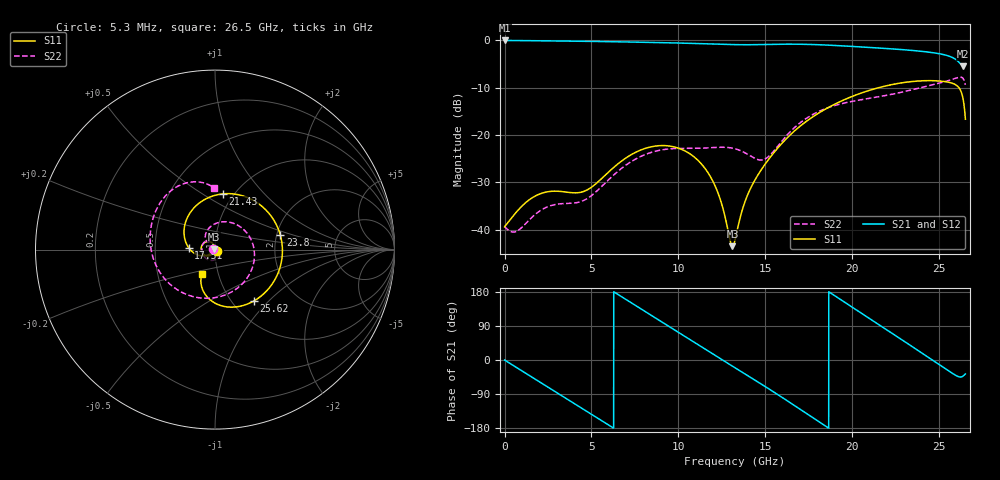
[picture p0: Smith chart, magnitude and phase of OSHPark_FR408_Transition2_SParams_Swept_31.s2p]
! TOUCHSTONE file generated by CST MICROWAVE STUDIO
! Date and time: Tue Jan  7 09:43:48 2020
! Project name: OSHPark_FR408_Transition2.cst
! Parameters = {GND_Plane_XMax=12; Cap_Disk_XOffset=0; Cap_Disk2_YCenter=-1.03; Cap_Disk_YCenter=1.03; Cap_Disk_XCenter=7.39; Cap_Disk_Radius=0.5; BottomSupport_Left_YMax=4.76; BottomSupport_Left_YMin=3.74; BottomSupport_Right_YMax=-3.74; BottomSupport_Right_YMin=-4.76; BottomSupport_XMax=11.64; Bot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
! Header version: 2015
! Port assignment regex: !\s*Touchstone port\s*([0-9]+)\s*=\s*CST MWS port\s*([0-9]+)\s*\(\"(.*)\"\)(\s*mode\s*([0-9]+))?.*
! Touchstone port assignment:
! Touchstone port 1 = CST MWS port 1 ("")
! Touchstone port 2 = CST MWS port 2 ("")
# GHz S MA R 50
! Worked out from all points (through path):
!   5000 points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, 5.3 MHz to 26.5 GHz, reference 50 ohm
!   highest |S21| = 0.00 dB at 5.3 MHz (marker M1); lowest = -5.4 dB at 26.38 GHz (marker M2)
!   group delay of S21, straight-line fit = 81.2 ps
!   lowest |S11| = -43.5 dB at 13.11 GHz (marker M3), VSWR 1.01, Z = 49.4 + j0.206 ohm
!   |S11| at or under -10 dB: start of sweep to 21.5 GHz; 26.13 GHz to end of sweep
!   |S22| runs from -40.5 to -7.7 dB; largest |S21 - S12| = 0
!   S11 on the Smith chart (normalised r, x): 5.3 MHz: 1.02, -0.01; 17.51 GHz: 0.75, +0.01; 21.43 GHz: 0.89, +0.62; 23.8 GHz: 2.09, +0.39; 25.62 GHz: 1.25, -0.82; 26.5 GHz: 0.84, -0.22
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0.0053  0.01073 -28.5  1 -0.2  1 -0.2  0.01087 150.6
1.1236  0.01867 -86.6  0.9959 -32.2  0.9959 -32.2  0.01116 176.1
2.4062  0.02503 -121.8  0.9905 -68.9  0.9905 -68.9  0.01726 156.1
4.4255  0.02495 -134.0  0.9806 -126.8  0.9806 -126.8  0.01994 61.0
5.5226  0.03389 -127.4  0.9743 -158.3  0.9743 -158.3  0.02791 -4.4
6.5508  0.05011 -135.8  0.9676 172.2  0.9676 172.2  0.04183 -51.6
8.8404  0.07714 178.4  0.9499 106.3  0.9499 106.3  0.06861 -126.2
10.1071  0.07155 148.5  0.9384 69.8  0.9384 69.8  0.07234 -156.7
11.5169  0.04473 116.8  0.9226 29.2  0.9226 29.2  0.07293 177.2
13.1069  0.006699 161.8  0.9042 -16.3  0.9042 -16.3  0.07274 145.9
13.2553  0.007782 -170.0  0.9031 -20.5  0.9031 -20.5  0.07168 142.8
14.0662  0.02543 -138.6  0.9012 -43.4  0.9012 -43.4  0.06128 129.4
15.5025  0.06572 -148.2  0.9105 -85.1  0.9105 -85.1  0.06851 134.8
17.5059  0.1463 176.3  0.9081 -145.4  0.9081 -145.4  0.1565 78.4
17.6702  0.1535 172.9  0.9063 -150.4  0.9063 -150.4  0.163 72.1
19.345  0.2281 134.9  0.8787 158.8  0.8787 158.8  0.214 6.4
21.4279  0.3138 81.8  0.8338 96.2  0.8338 96.2  0.2523 -66.7
22.0851  0.336 63.6  0.8191 76.4  0.8191 76.4  0.2656 -87.1
23.797  0.3728 12.6  0.7736 24.5  0.7736 24.5  0.3127 -139.0
25.6202  0.3588 -53.1  0.6767 -31.3  0.6767 -31.3  0.3813 157.8
26.3834  0.232 -107.4  0.5347 -41.8  0.5347 -41.8  0.3921 105.6
26.5  0.1471 -118.8  0.5686 -36.7  0.5686 -36.7  0.3397 89.9
